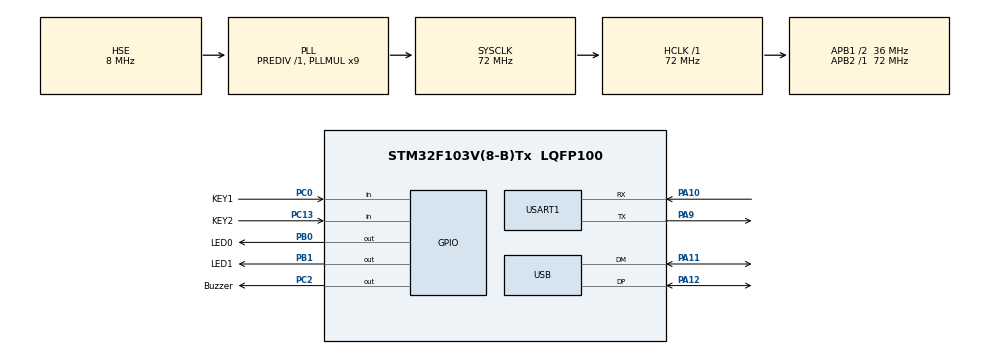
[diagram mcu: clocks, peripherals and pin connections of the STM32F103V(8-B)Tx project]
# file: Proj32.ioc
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Mcu.Family=STM32F1
Mcu.Name=STM32F103V(8-B)Tx
Mcu.Package=LQFP100
NVIC.PriorityGroup=NVIC_PRIORITYGROUP_4
NVIC.USART1_IRQn=true\:0\:0\:false\:false\:true\:true\:true
NVIC.USB_LP_CAN1_RX0_IRQn=true\:0\:0\:false\:false\:true\:false\:true
OSC_IN.Mode=HSE-External-Oscillator
OSC_IN.Signal=RCC_OSC_IN
OSC_OUT.Mode=HSE-External-Oscillator
OSC_OUT.Signal=RCC_OSC_OUT
PA10.Mode=Asynchronous
PA10.Signal=USART1_RX
PA11.Mode=Device
PA11.Signal=USB_DM
PA12.Mode=Device
PA12.Signal=USB_DP
PA13.Mode=Serial_Wire
PA13.Signal=SYS_JTMS-SWDIO
PA14.Mode=Serial_Wire
PA14.Signal=SYS_JTCK-SWCLK
PA9.Mode=Asynchronous
PA9.Signal=USART1_TX
PB0.GPIO_Label=LED0
PB0.GPIO_ModeDefaultOutputPP=GPIO_MODE_OUTPUT_PP
PB0.GPIO_PuPd=GPIO_PULLUP
PB0.GPIO_Speed=GPIO_SPEED_FREQ_HIGH
PB0.PinState=GPIO_PIN_SET
PB0.Signal=GPIO_Output
PB1.GPIO_Label=LED1
PB1.GPIO_PuPd=GPIO_PULLDOWN
PB1.GPIO_Speed=GPIO_SPEED_FREQ_HIGH
PB1.PinState=GPIO_PIN_SET
PB1.Signal=GPIO_Output
PC0.GPIO_Label=KEY1
PC0.GPIO_PuPd=GPIO_PULLDOWN
PC0.Signal=GPIO_Input
PC13-TAMPER-RTC.GPIO_Label=KEY2
PC13-TAMPER-RTC.GPIO_PuPd=GPIO_PULLDOWN
PC13-TAMPER-RTC.Signal=GPIO_Input
PC2.GPIO_Label=Buzzer
PC2.GPIO_PuPd=GPIO_PULLDOWN
PC2.GPIO_Speed=GPIO_SPEED_FREQ_HIGH
PC2.PinState=GPIO_PIN_SET
PC2.Signal=GPIO_Output
ProjectManager.HeapSize=0x1000
ProjectManager.StackSize=0x1000
ProjectManager.TargetToolchain=STM32CubeIDE
RCC.AHBFreq_Value=72000000
RCC.APB1CLKDivider=RCC_HCLK_DIV2
RCC.APB1Freq_Value=36000000
RCC.APB1TimFreq_Value=72000000
RCC.APB2Freq_Value=72000000
RCC.APB2TimFreq_Value=72000000
RCC.HCLKFreq_Value=72000000
RCC.PLLMUL=RCC_PLL_MUL9
RCC.SYSCLKFreq_VALUE=72000000
RCC.SYSCLKSource=RCC_SYSCLKSOURCE_PLLCLK
RCC.USBFreq_Value=48000000
RCC.USBPrescaler=RCC_USBCLKSOURCE_PLL_DIV1_5
USART1.VirtualMode=VM_ASYNC
USB_DEVICE.CLASS_NAME_FS=HID
USB_DEVICE.VirtualMode=Hid
USB_DEVICE.VirtualModeFS=Hid_FS
VP_USB_DEVICE_VS_USB_DEVICE_HID_FS.Mode=HID_FS
board=custom

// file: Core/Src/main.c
/* USER CODE BEGIN Header */
/**
  ******************************************************************************
  * @file           : main.c
  * @brief          : Main program body
  ******************************************************************************
  * @attention
  *
  * Copyright (c) 2021 STMicroelectronics.
  * All rights reserved.
  *
  * This software is licensed under terms that can be found in the LICENSE file
  * in the root directory of this software component.
  * If no LICENSE file comes with this software, it is provided AS-IS.
  *
  ******************************************************************************
  */
/* USER CODE END Header */
#include "main.h"
#include "usb_device.h"

/* USER CODE BEGIN Includes */
#include "stdio.h"
#include "usbd_hid.h"
/* USER CODE END Includes */

/* USER CODE BEGIN PTD */
uint8_t rx_buff[100];  //接收缓存
uint8_t rx_done = 0; //接收完成标志
uint8_t rx_cnt = 0;//接收数据长度
/* USER CODE END PTD */

UART_HandleTypeDef huart1;

void SystemClock_Config(void);
static void MX_GPIO_Init(void);
static void MX_USART1_UART_Init(void);

/* USER CODE BEGIN 0 */
void Send_Str(u_char *Str);
/* USER CODE END 0 */

int main(void)
{

  /* MCU Configuration--------------------------------------------------------*/

  /* Reset of all peripherals, Initializes the Flash interface and the Systick. */
  HAL_Init();

  /* Configure the system clock */
  SystemClock_Config();

  /* Initialize all configured peripherals */
  MX_GPIO_Init();
  MX_USART1_UART_Init();
  MX_USB_DEVICE_Init();

  /* Infinite loop */
  /* USER CODE BEGIN WHILE */
  u_char Str[] = {"rymcu"};
  u_char *Pstr = Str;//字符串指针

  uint8_t txbuffer[8]= {0x00,0x00,0x00,0x00,0x00,0x00,0x00,0x00};//空
  uint8_t sendbuffer[8]={0x00,0x00,0x04,0x00,0x00,0x00,0x00,0x00};//发送字母
  //延迟10s,下载程序后，重新插拔USB，将光标挪至文档中，等待输出
  HAL_Delay(10000);

  while(*Pstr)//判断是否到字符串末尾
  {
        sendbuffer[2] = (*Pstr++)-'a'+ 4;//字母a对应4，其他依次增加
        //发送一个字符
        USBD_HID_SendReport(&hUsbDeviceFS,sendbuffer,8);//发送报文
        HAL_Delay(15);
        USBD_HID_SendReport(&hUsbDeviceFS,txbuffer,8);//发送报文
        HAL_Delay(15);

  }
  while (1)
  {
      if(rx_done == 1)//判读是否接收完成
      {
          rx_done = 0;//清除接收标志
          //数据处理，打印接收长度、接收的数据
          printf("length of rx data: %d!\r\n",rx_cnt);
          for(int i = 0;i<rx_cnt;i++) printf("%c",rx_buff[i]);
          printf("\r\n");
          rx_cnt =0;//清除接收长度
      }
    /* USER CODE END WHILE */

  }
}

void SystemClock_Config(void)
{
  RCC_OscInitTypeDef RCC_OscInitStruct = {0};
  RCC_ClkInitTypeDef RCC_ClkInitStruct = {0};
  RCC_PeriphCLKInitTypeDef PeriphClkInit = {0};

  /** Initializes the RCC Oscillators according to the specified parameters
  * in the RCC_OscInitTypeDef structure.
  */
  RCC_OscInitStruct.OscillatorType = RCC_OSCILLATORTYPE_HSE;
  RCC_OscInitStruct.HSEState = RCC_HSE_ON;
  RCC_OscInitStruct.HSEPredivValue = RCC_HSE_PREDIV_DIV1;
  RCC_OscInitStruct.HSIState = RCC_HSI_ON;
  RCC_OscInitStruct.PLL.PLLState = RCC_PLL_ON;
  RCC_OscInitStruct.PLL.PLLSource = RCC_PLLSOURCE_HSE;
  RCC_OscInitStruct.PLL.PLLMUL = RCC_PLL_MUL9;
  if (HAL_RCC_OscConfig(&RCC_OscInitStruct) != HAL_OK)
  {
    Error_Handler();
  }
  /** Initializes the CPU, AHB and APB buses clocks
  */
  RCC_ClkInitStruct.ClockType = RCC_CLOCKTYPE_HCLK|RCC_CLOCKTYPE_SYSCLK
                              |RCC_CLOCKTYPE_PCLK1|RCC_CLOCKTYPE_PCLK2;
  RCC_ClkInitStruct.SYSCLKSource = RCC_SYSCLKSOURCE_PLLCLK;
  RCC_ClkInitStruct.AHBCLKDivider = RCC_SYSCLK_DIV1;
  RCC_ClkInitStruct.APB1CLKDivider = RCC_HCLK_DIV2;
  RCC_ClkInitStruct.APB2CLKDivider = RCC_HCLK_DIV1;

  if (HAL_RCC_ClockConfig(&RCC_ClkInitStruct, FLASH_LATENCY_2) != HAL_OK)
  {
    Error_Handler();
  }
  PeriphClkInit.PeriphClockSelection = RCC_PERIPHCLK_USB;
  PeriphClkInit.UsbClockSelection = RCC_USBCLKSOURCE_PLL_DIV1_5;
  if (HAL_RCCEx_PeriphCLKConfig(&PeriphClkInit) != HAL_OK)
  {
    Error_Handler();
  }
}

static void MX_USART1_UART_Init(void)
{

  huart1.Instance = USART1;
  huart1.Init.BaudRate = 115200;
  huart1.Init.WordLength = UART_WORDLENGTH_8B;
  huart1.Init.StopBits = UART_STOPBITS_1;
  huart1.Init.Parity = UART_PARITY_NONE;
  huart1.Init.Mode = UART_MODE_TX_RX;
  huart1.Init.HwFlowCtl = UART_HWCONTROL_NONE;
  huart1.Init.OverSampling = UART_OVERSAMPLING_16;
  if (HAL_UART_Init(&huart1) != HAL_OK)
  {
    Error_Handler();
  }
  /* USER CODE BEGIN USART1_Init 2 */
  //开启接收中断，空闲中断
  __HAL_UART_ENABLE_IT(&huart1,UART_IT_IDLE|UART_IT_RXNE);
  /* USER CODE END USART1_Init 2 */

}

static void MX_GPIO_Init(void)
{
  GPIO_InitTypeDef GPIO_InitStruct = {0};

  /* GPIO Ports Clock Enable */
  __HAL_RCC_GPIOC_CLK_ENABLE();
  __HAL_RCC_GPIOB_CLK_ENABLE();
  __HAL_RCC_GPIOA_CLK_ENABLE();

  /*Configure GPIO pin Output Level */
  HAL_GPIO_WritePin(Buzzer_GPIO_Port, Buzzer_Pin, GPIO_PIN_SET);

  /*Configure GPIO pin Output Level */
  HAL_GPIO_WritePin(GPIOB, LED0_Pin|LED1_Pin, GPIO_PIN_SET);

  /*Configure GPIO pins : KEY2_Pin KEY1_Pin */
  GPIO_InitStruct.Pin = KEY2_Pin|KEY1_Pin;
  GPIO_InitStruct.Mode = GPIO_MODE_INPUT;
  GPIO_InitStruct.Pull = GPIO_PULLDOWN;
  HAL_GPIO_Init(GPIOC, &GPIO_InitStruct);

  /*Configure GPIO pin : Buzzer_Pin */
  GPIO_InitStruct.Pin = Buzzer_Pin;
  GPIO_InitStruct.Mode = GPIO_MODE_OUTPUT_PP;
  GPIO_InitStruct.Pull = GPIO_PULLDOWN;
  GPIO_InitStruct.Speed = GPIO_SPEED_FREQ_HIGH;
  HAL_GPIO_Init(Buzzer_GPIO_Port, &GPIO_InitStruct);

  /*Configure GPIO pin : LED0_Pin */
  GPIO_InitStruct.Pin = LED0_Pin;
  GPIO_InitStruct.Mode = GPIO_MODE_OUTPUT_PP;
  GPIO_InitStruct.Pull = GPIO_PULLUP;
  GPIO_InitStruct.Speed = GPIO_SPEED_FREQ_HIGH;
  HAL_GPIO_Init(LED0_GPIO_Port, &GPIO_InitStruct);

  /*Configure GPIO pin : LED1_Pin */
  GPIO_InitStruct.Pin = LED1_Pin;
  GPIO_InitStruct.Mode = GPIO_MODE_OUTPUT_PP;
  GPIO_InitStruct.Pull = GPIO_PULLDOWN;
  GPIO_InitStruct.Speed = GPIO_SPEED_FREQ_HIGH;
  HAL_GPIO_Init(LED1_GPIO_Port, &GPIO_InitStruct);

}

/* USER CODE BEGIN 4 */

#ifdef __GNUC__
#define PUTCHAR_PROTOTYPE int __io_putchar(int ch)
#else
#define PUTCHAR_PROTOTYPE int fputc(int ch. FILE *f)
#endif /* __GNUC__ */

//重定向printf函数
PUTCHAR_PROTOTYPE
{
    HAL_UART_Transmit(&huart1,(uint8_t *)&ch,1,0xFFFF);//输出指向串口USART1
    return ch;
}
/* USER CODE END 4 */

void Error_Handler(void)
{
  __disable_irq();
  while (1)
  {
  }
}
